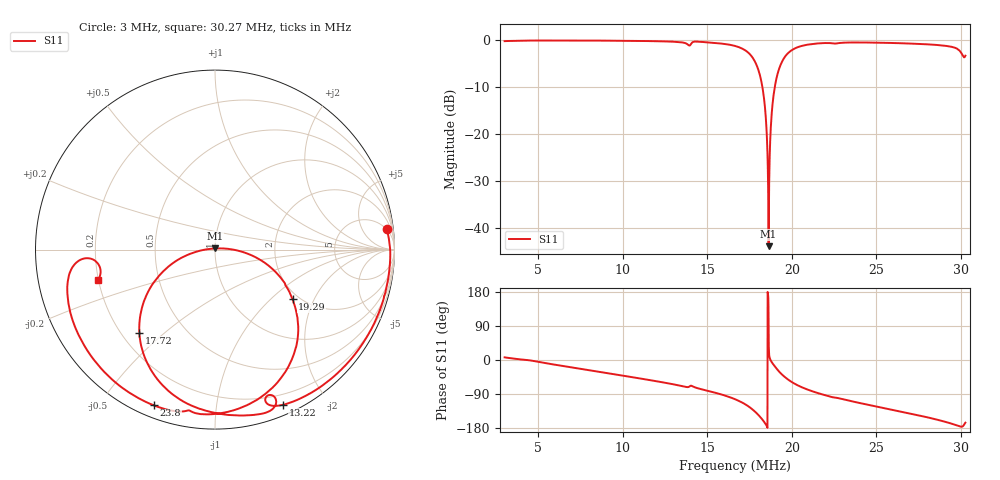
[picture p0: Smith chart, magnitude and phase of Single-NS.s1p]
# HZ S RI R 50
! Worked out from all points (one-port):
!   2727 points, 3 MHz to 30.27 MHz, reference 50 ohm
!   lowest |S11| = -43.9 dB at 18.63 MHz (marker M1), VSWR 1.01, Z = 50.1 + j0.633 ohm
!   |S11| at or under -10 dB: 18.25 MHz to 18.99 MHz (742 kHz wide, 3.98 % of centre)
!   S11 on the Smith chart (normalised r, x): 3 MHz: 5, +15; 13.22 MHz: 0.10, -1.53; 17.72 MHz: 0.27, -0.42; 19.29 MHz: 1.85, -1.38; 23.8 MHz: 0.05, -0.68; 30.27 MHz: 0.20, -0.12
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3000000  0.9555 0.1173
6411364  0.9415 -0.2617
9822728  0.7443 -0.6259
1.322409e7  0.3808 -0.8644
1.323409e7  0.3794 -0.8647
1.379432e7  0.2854 -0.8526
1.414446e7  0.325 -0.8843
1.535494e7  0.0791 -0.9216
1.663545e7  -0.1988 -0.8327
1.721568e7  -0.3414 -0.6943
1.771588e7  -0.4215 -0.465
1.804602e7  -0.3823 -0.2548
1.827611e7  -0.2772 -0.1105
1.842617e7  -0.1716 -0.0379
1.854622e7  -0.071 -0.00314
1.862625e7  0.000623 0.00632
1.871628e7  0.0822 0.00287
1.880632e7  0.161 -0.0153
1.891636e7  0.249 -0.0551
1.928651e7  0.4319 -0.2761
2.004682e7  0.3961 -0.6743
2.133733e7  0.0884 -0.8996
2.345818e7  -0.2884 -0.8857
2.379832e7  -0.3401 -0.8679
2.686954e7  -0.6966 -0.5842
2.934053e7  -0.8225 -0.1975
2.999079e7  -0.7356 -0.0512
3.02709e7  -0.653 -0.1698
